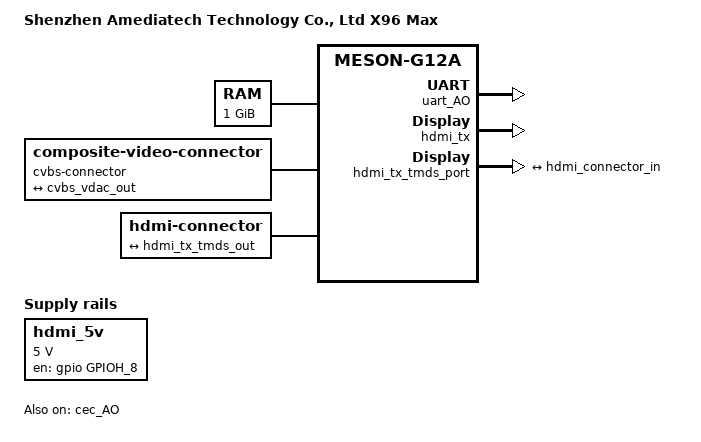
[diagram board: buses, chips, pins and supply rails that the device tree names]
// SPDX-License-Identifier: (GPL-2.0+ OR MIT)
/*
 * Copyright (c) 2018 BayLibre SAS. All rights reserved.
 */

/dts-v1/;

#include "meson-g12a.dtsi"
#include <dt-bindings/gpio/meson-g12a-gpio.h>

/ {
	compatible = "amediatech,x96-max", "amlogic,u200", "amlogic,g12a";
	model = "Shenzhen Amediatech Technology Co., Ltd X96 Max";

	aliases {
		serial0 = &uart_AO;
	};
	chosen {
		stdout-path = "serial0:115200n8";
	};
	memory@0 {
		device_type = "memory";
		reg = <0x0 0x0 0x0 0x40000000>;
	};

	cvbs-connector {
		compatible = "composite-video-connector";

		port {
			cvbs_connector_in: endpoint {
				remote-endpoint = <&cvbs_vdac_out>;
			};
		};
	};

	hdmi_5v: regulator-hdmi-5v {
		compatible = "regulator-fixed";

		regulator-name = "HDMI_5V";
		regulator-min-microvolt = <5000000>;
		regulator-max-microvolt = <5000000>;

		gpio = <&gpio GPIOH_8 GPIO_ACTIVE_HIGH>;
		enable-active-high;
		regulator-always-on;
	};

	hdmi-connector {
		compatible = "hdmi-connector";
		type = "a";

		port {
			hdmi_connector_in: endpoint {
				remote-endpoint = <&hdmi_tx_tmds_out>;
			};
		};
	};
};

&cec_AO {
	pinctrl-0 = <&cec_ao_a_h_pins>;
	pinctrl-names = "default";
	status = "okay";
	hdmi-phandle = <&hdmi_tx>;
};

&cvbs_vdac_port {
	cvbs_vdac_out: endpoint {
		remote-endpoint = <&cvbs_connector_in>;
	};
};

&uart_AO {
	status = "okay";
};

&hdmi_tx {
	status = "okay";
	pinctrl-0 = <&hdmitx_hpd_pins>, <&hdmitx_ddc_pins>;
	pinctrl-names = "default";
	hdmi-supply = <&hdmi_5v>;
};

&hdmi_tx_tmds_port {
	hdmi_tx_tmds_out: endpoint {
		remote-endpoint = <&hdmi_connector_in>;
	};
};
